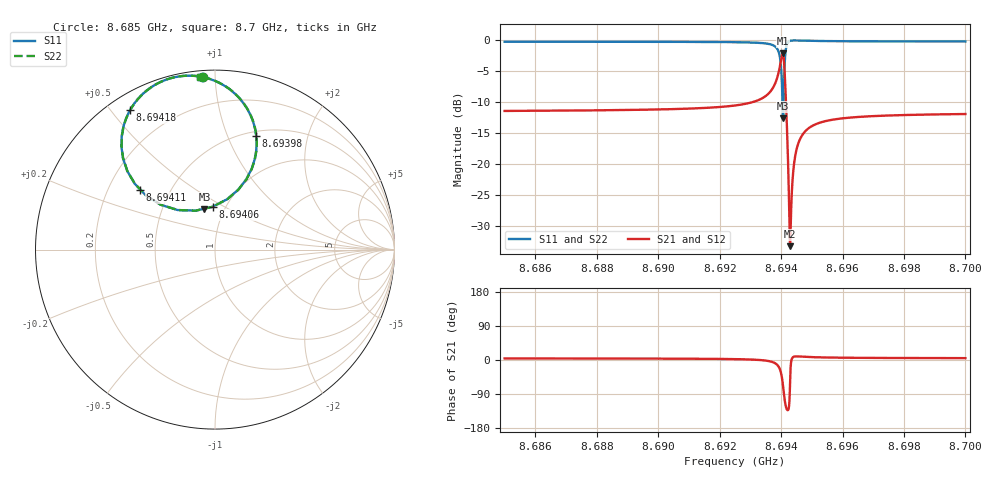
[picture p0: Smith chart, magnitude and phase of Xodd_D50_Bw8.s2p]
! Sonnet Data File
! From: emgraph Version : 16.52
! From Emgraph Data: Qubit_Xmon2_brg
! Data File Written: 10/24/2017 15:59:08
!< HDATE 10/24/2017 15:36:22
!< MDATE 10/24/2017 15:36:22
!< PARAMS
!< Lj = 11.0
!< Gap = 6.0
!< Pwid = 2000.0
!< Width = 10.0
!< Bwid = 8.0
!< Dis1 = 50.0
!< END PARAMS
# GHZ S MA R 34.70000
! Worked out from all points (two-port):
!   3001 points, 8.685 GHz to 8.7 GHz, reference 34.7 ohm
!   highest |S21| = -2.21 dB at 8.69406 GHz (marker M1); lowest = -33.3 dB at 8.69429 GHz (marker M2)
!   |S21| within 3 dB of the highest: 8.693924 GHz to 8.694116 GHz (192.4 kHz wide, 0.00221 % of centre)
!   lowest |S11| = -12.7 dB at 8.69407 GHz (marker M3), VSWR 1.61, Z = 28 + j13.3 ohm
!   |S11| at or under -10 dB: 8.694046 GHz to 8.694082 GHz (35.98 kHz wide, 0.000414 % of centre)
!   |S22| runs from -12.7 to -0.1 dB; largest |S21 - S12| = 0
!   S11 on the Smith chart (normalised r, x): 8.685 GHz: 0.03, +0.93; 8.69398 GHz: 0.55, +1.27; 8.69406 GHz: 0.87, +0.44; 8.69411 GHz: 0.34, +0.31; 8.69418 GHz: 0.06, +0.56; 8.7 GHz: 0.03, +0.92
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8.685  0.9639 94.2  0.2662 4.2  0.2662 4.2  0.9639 94.1
!< P1 F=8.685 Eeff=(5.13559215 -5.6621e-5) Z0=(34.6542042 -9.3986e-5) R=0.0 C=0.0
!< P2 F=8.685 Eeff=(5.13559215 -5.6621e-5) Z0=(34.6542042 -9.3986e-5) R=0.0 C=0.0
8.6875  0.9632 94.1  0.2685 4.0  0.2685 4.0  0.9632 94.0
8.69  0.9618 93.7  0.2736 3.7  0.2736 3.7  0.9618 93.6
8.6925  0.9552 92.5  0.2945 2.3  0.2945 2.3  0.9552 92.4
8.6933  0.9426 90.4  0.3287 0.0  0.3287 0.0  0.9426 90.3
8.69372  0.9068 85.8  0.403 -5.4  0.403 -5.4  0.9068 85.7
8.693885  0.8361 79.4  0.5036 -13.9  0.5036 -13.9  0.8361 79.3
8.69398  0.6733 70.1  0.6441 -28.7  0.6441 -28.7  0.6732 69.9
8.694055  0.2589 83.7  0.7754 -62.1  0.7754 -62.1  0.2587 83.6
8.69406  0.2392 93.3  0.7735 -65.5  0.7735 -65.5  0.2389 93.2
8.694065  0.2327 104.7  0.7685 -69.0  0.7685 -69.0  0.2324 104.6
8.694105  0.5349 141.5  0.6151 -97.8  0.6151 -97.8  0.5347 141.4
8.694145  0.7988 130.8  0.3854 -119.0  0.3854 -119.0  0.7987 130.7
8.694185  0.9096 121.4  0.2159 -129.9  0.2159 -129.9  0.9096 121.3
8.69424  0.9627 113.6  0.0785 -130.1  0.0785 -130.1  0.9627 113.5
8.69429  0.9785 109.5  0.02156 -65.0  0.02156 -65.0  0.9785 109.4
8.694335  0.9839 107.0  0.04802 -1.3  0.04802 -1.3  0.9839 106.9
8.694425  0.9865 103.8  0.1009 9.0  0.1009 9.0  0.9864 103.7
8.694535  0.9853 101.6  0.1392 9.5  0.1392 9.5  0.9853 101.5
8.695  0.9784 98.0  0.2007 7.6  0.2007 7.6  0.9784 97.9
8.6975  0.9695 95.4  0.2446 5.3  0.2446 5.3  0.9695 95.3
8.7  0.9678 95.0  0.2514 4.9  0.2514 4.9  0.9678 94.9
